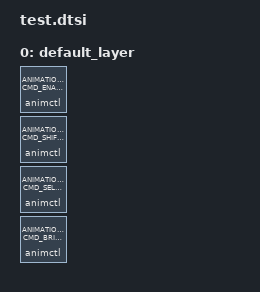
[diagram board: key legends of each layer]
#include <zmk_driver_animation/animation.dtsi>
#include <behaviors/animation_control.dtsi>
#include <dt-bindings/zmk_driver_animation/animation_control.h>
#include <physical_layouts.dtsi>
#include <dt-bindings/zmk/matrix_transform.h>

/ {
	physical_layout: physical_layout {
		compatible = "zmk,physical-layout";
		display-name = "Animation Test Layout";
		keys
			= <&key_physical_attrs 100 100    0    0 0 0 0>
			, <&key_physical_attrs 100 100    0  100 0 0 0>
			, <&key_physical_attrs 100 100    0  200 0 0 0>
			, <&key_physical_attrs 100 100    0  300 0 0 0>
			;
		transform = <&transform0>;
	};

	transform0: transform0 {
		compatible = "zmk,matrix-transform";
		columns = <2>;
		rows = <2>;
		map = <RC(0,0) RC(0,1) RC(1,0) RC(1,1)>;
	};

	mock_led_strip: mock_led_strip_0 {
		compatible = "zmk,mock-led-strip";
		chain-length = <1>;
	};

	animation: animation {
		compatible = "zmk,animation";
		drivers = <&mock_led_strip>;
		chain-lengths = <1>;
		pixels = <&pixel 0 0>;
	};

	animation_solid0: animation_solid_0 {
		compatible = "zmk,animation-solid";
		pixels = <0>;
		colors = <HSL(120, 100, 50)>;
	};

	animation_layer_status0: animation_layer_status_0 {
		compatible = "zmk,animation-layer-status";
		pixels = <0>;
		default-color = <HSL(0, 0, 100)>;
		colors = <HSL(0, 100, 50)>;
	};

	animation_control0: animation_control_0 {
		compatible = "zmk,animation-control";
		label = "ANIMATION_CONTROL";
		powered-animations = <&animation_solid0>;
		battery-animations = <&animation_solid0>;
		behavior-animations = <&animation_solid0>;
	};

	chosen {
		zmk,animation = &animation_control0;
		zmk,animation-control = &animation_control0;
	};
};

#include <dt-bindings/zmk/keys.h>
#include <behaviors.dtsi>
#include <dt-bindings/zmk/kscan_mock.h>

/ {
	keymap {
		compatible = "zmk,keymap";

		default_layer {
			bindings = <
			&animctl ANIMATION_CONTROL_CMD_ENABLE 1
			&animctl ANIMATION_CONTROL_CMD_SHIFT 1
			&animctl ANIMATION_CONTROL_CMD_SELECT 0
			&animctl ANIMATION_CONTROL_CMD_BRIGHT 1
			>;
		};
	};
};

&kscan {
	events = <
	ZMK_MOCK_PRESS(0,0,10)
	ZMK_MOCK_RELEASE(0,0,10)
	ZMK_MOCK_PRESS(0,1,10)
	ZMK_MOCK_RELEASE(0,1,10)
	ZMK_MOCK_PRESS(1,0,10)
	ZMK_MOCK_RELEASE(1,0,10)
	ZMK_MOCK_PRESS(1,1,10)
	ZMK_MOCK_RELEASE(1,1,10)
	>;
};
